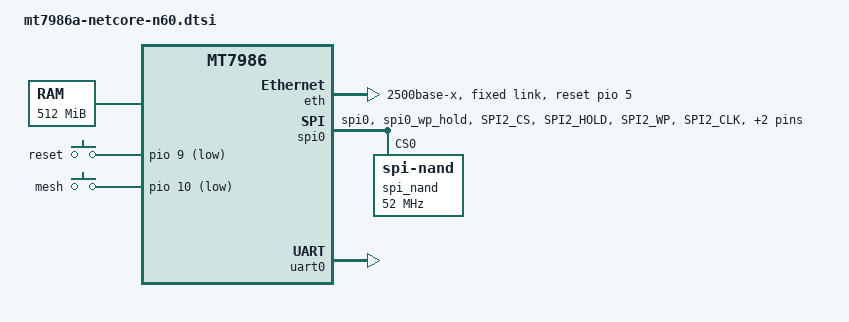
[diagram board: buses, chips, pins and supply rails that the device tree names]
// SPDX-License-Identifier: GPL-2.0

/dts-v1/;
#include "mt7986.dtsi"
#include <dt-bindings/gpio/gpio.h>

/ {
	#address-cells = <1>;
	#size-cells = <1>;

	chosen {
		stdout-path = &uart0;
		tick-timer = &timer0;
	};

	config {
		bootcmd = "mtkboardboot";
	};

	memory@40000000 {
		device_type = "memory";
		reg = <0x40000000 0x20000000>;
	};

	gpio-keys {
		compatible = "gpio-keys";

		button-reset {
			label = "reset";
			linux,code = <KEY_RESTART>;
			gpios = <&pio 9 GPIO_ACTIVE_LOW>;
		};

		button-mesh {
			label = "mesh";
			linux,code = <KEY_WPS_BUTTON>;
			gpios = <&pio 10 GPIO_ACTIVE_LOW>;
		};
	};

	bl2_verify {
		bl2_compatible = "spim-nand";
	};
};

&eth {
	status = "okay";
	mediatek,gmac-id = <0>;
	phy-mode = "2500base-x";
	mediatek,switch = "auto";
	reset-gpios = <&pio 5 GPIO_ACTIVE_HIGH>;

	fixed-link {
		speed = <2500>;
		full-duplex;
	};
};

&pio {
	spi_flash_pins: spi0-pins-func-1 {
		mux {
			function = "flash";
			groups = "spi0", "spi0_wp_hold";
		};

		conf-pu {
			pins = "SPI2_CS", "SPI2_HOLD", "SPI2_WP";
			drive-strength = <MTK_DRIVE_4mA>;
			bias-pull-up = <MTK_PUPD_SET_R1R0_11>;
		};

		conf-pd {
			pins = "SPI2_CLK", "SPI2_MOSI", "SPI2_MISO";
			drive-strength = <MTK_DRIVE_4mA>;
			bias-pull-down = <MTK_PUPD_SET_R1R0_11>;
		};
	};
};

&spi0 {
	#address-cells = <1>;
	#size-cells = <0>;
	pinctrl-names = "default";
	pinctrl-0 = <&spi_flash_pins>;
	status = "okay";
	must_tx;
	enhance_timing;
	dma_ext;
	ipm_design;
	support_quad;
	tick_dly = <2>;
	sample_sel = <0>;

	spi_nand@0 {
		compatible = "spi-nand";
		reg = <0>;
		spi-max-frequency = <52000000>;
	};
};

&uart0 {
	status = "okay";
};

&watchdog {
	status = "disabled";
};
